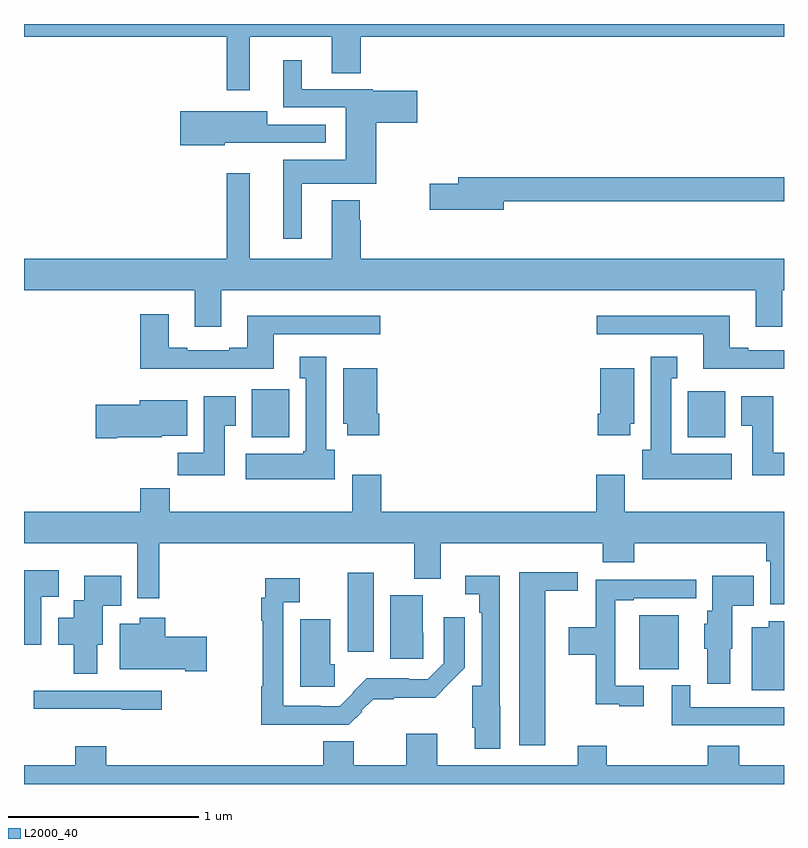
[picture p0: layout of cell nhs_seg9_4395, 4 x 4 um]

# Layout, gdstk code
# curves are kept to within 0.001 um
import gdstk
lib = gdstk.Library(unit=1e-6, precision=1e-09)
def R(c, l, rs):  # rectangles x0, y0, x1, y1
    for r in rs: c.add(gdstk.rectangle(r[:2], r[2:], *l))
def P(c, l, *ps):  # polygons
    for p in ps: c.add(gdstk.Polygon(p, *l))
L2000_40 = (2000, 40)

nhs_seg9_4395 = lib.new_cell('nhs_seg9_4395')
R(nhs_seg9_4395, L2000_40, [(366.239,1181.105,366.445,1181.389), (364.703,1181.196,364.84,1181.611), (364.199,1182.326,364.395,1182.577), (366.494,1182.326,366.691,1182.568)])
P(nhs_seg9_4395, L2000_40, [(363,1184.432),(364.068,1184.432),(364.068,1184.151),(364.189,1184.151),(364.189,1184.432),(364.619,1184.432),(364.619,1184.242),(364.772,1184.242),(364.772,1184.432),(367,1184.432),(367,1184.5),(363,1184.5)],
  [(364.462,1183.658),(364.853,1183.658),(364.853,1183.979),(365.071,1183.979),(365.071,1184.149),(364.836,1184.149),(364.836,1184.157),(364.462,1184.157),(364.462,1184.308),(364.364,1184.308),(364.364,1184.061),(364.694,1184.061),(364.694,1183.786),(364.364,1183.786),(364.364,1183.371),(364.462,1183.371)],
  [(364.056,1183.874),(364.275,1183.874),(364.275,1183.875),(364.588,1183.875),(364.588,1183.971),(364.279,1183.971),(364.279,1184.04),(363.822,1184.04),(363.822,1183.862),(364.056,1183.862)],
  [(364.039,1183.1),(366.851,1183.1),(366.851,1182.906),(366.991,1182.906),(366.991,1183.1),(367,1183.1),(367,1183.264),(364.772,1183.264),(364.772,1183.466),(364.767,1183.466),(364.767,1183.573),(364.619,1183.573),(364.619,1183.264),(364.189,1183.264),(364.189,1183.714),(364.068,1183.714),(364.068,1183.264),(363,1183.264),(363,1183.1),(363.899,1183.1),(363.899,1182.906),(364.039,1182.906)],
  [(365.524,1183.566),(367,1183.566),(367,1183.694),(365.285,1183.694),(365.285,1183.658),(365.136,1183.658),(365.136,1183.523),(365.524,1183.523)],
  [(364.315,1182.867),(364.876,1182.867),(364.876,1182.964),(364.175,1182.964),(364.175,1182.796),(364.079,1182.796),(364.079,1182.783),(363.859,1182.783),(363.859,1182.796),(363.763,1182.796),(363.763,1182.973),(363.611,1182.973),(363.611,1182.686),(364.315,1182.686)],
  [(367,1182.783),(366.811,1182.783),(366.811,1182.796),(366.715,1182.796),(366.715,1182.964),(366.015,1182.964),(366.015,1182.867),(366.575,1182.867),(366.575,1182.686),(367,1182.686)],
  [(366.724,1182.238),(366.406,1182.238),(366.406,1182.635),(366.439,1182.635),(366.439,1182.748),(366.299,1182.748),(366.299,1182.258),(366.254,1182.258),(366.254,1182.104),(366.724,1182.104)],
  [(364.636,1182.258),(364.591,1182.258),(364.591,1182.748),(364.451,1182.748),(364.451,1182.635),(364.484,1182.635),(364.484,1182.252),(364.471,1182.252),(364.471,1182.238),(364.167,1182.238),(364.167,1182.104),(364.636,1182.104)],
  [(364.871,1182.448),(364.858,1182.448),(364.858,1182.688),(364.679,1182.688),(364.679,1182.396),(364.7,1182.396),(364.7,1182.336),(364.871,1182.336)],
  [(366.19,1182.396),(366.211,1182.396),(366.211,1182.688),(366.032,1182.688),(366.032,1182.448),(366.02,1182.448),(366.02,1182.336),(366.19,1182.336)],
  [(364.057,1182.385),(364.114,1182.385),(364.114,1182.541),(363.947,1182.541),(363.947,1182.244),(363.808,1182.244),(363.808,1182.126),(364.057,1182.126)],
  [(367,1182.244),(366.943,1182.244),(366.943,1182.541),(366.776,1182.541),(366.776,1182.385),(366.833,1182.385),(366.833,1182.126),(367,1182.126)],
  [(363.49,1182.326),(363.726,1182.326),(363.726,1182.332),(363.859,1182.332),(363.859,1182.52),(363.608,1182.52),(363.608,1182.497),(363.378,1182.497),(363.378,1182.319),(363.49,1182.319)],
  [(365.054,1181.579),(365.194,1181.579),(365.194,1181.768),(366.047,1181.768),(366.047,1181.666),(366.212,1181.666),(366.212,1181.768),(366.907,1181.768),(366.907,1181.672),(366.927,1181.672),(366.927,1181.445),(367,1181.445),(367,1181.932),(366.163,1181.932),(366.163,1182.127),(366.011,1182.127),(366.011,1181.932),(364.88,1181.932),(364.88,1182.127),(364.727,1182.127),(364.727,1181.932),(363.767,1181.932),(363.767,1182.056),(363.611,1182.056),(363.611,1181.932),(363,1181.932),(363,1181.768),(363.597,1181.768),(363.597,1181.478),(363.713,1181.478),(363.713,1181.768),(365.054,1181.768)],
  [(363.09,1181.486),(363.184,1181.486),(363.184,1181.626),(363,1181.626),(363,1181.234),(363.09,1181.234)],
  [(365.743,1181.516),(365.914,1181.516),(365.914,1181.614),(365.606,1181.614),(365.606,1180.704),(365.743,1180.704)],
  [(363.385,1181.234),(363.415,1181.234),(363.415,1181.438),(363.512,1181.438),(363.512,1181.596),(363.318,1181.596),(363.318,1181.467),(363.263,1181.467),(363.263,1181.374),(363.179,1181.374),(363.179,1181.234),(363.263,1181.234),(363.263,1181.079),(363.385,1181.079)],
  [(366.718,1181.211),(366.727,1181.211),(366.727,1181.438),(366.842,1181.438),(366.842,1181.596),(366.623,1181.596),(366.623,1181.412),(366.596,1181.412),(366.596,1181.343),(366.581,1181.343),(366.581,1181.211),(366.596,1181.211),(366.596,1181.028),(366.718,1181.028)],
  [(365.506,1180.913),(365.505,1180.913),(365.505,1181.596),(365.322,1181.596),(365.322,1181.499),(365.397,1181.499),(365.397,1181.402),(365.409,1181.402),(365.409,1181.016),(365.36,1181.016),(365.36,1180.795),(365.372,1180.795),(365.372,1180.685),(365.506,1180.685)],
  [(364.779,1180.881),(364.775,1180.885),(364.837,1180.947),(364.945,1180.947),(364.945,1180.955),(365.165,1180.955),(365.32,1181.112),(365.32,1181.377),(365.208,1181.377),(365.208,1181.136),(365.124,1181.052),(365.024,1181.052),(365.024,1181.057),(364.805,1181.057),(364.731,1180.983),(364.734,1180.98),(364.662,1180.908),(364.562,1180.908),(364.562,1180.912),(364.365,1180.912),(364.365,1181.456),(364.45,1181.456),(364.45,1181.584),(364.269,1181.584),(364.269,1181.48),(364.249,1181.48),(364.249,1181.36),(364.257,1181.36),(364.257,1181.015),(364.249,1181.015),(364.249,1180.811),(364.709,1180.811)],
  [(366.262,1181.016),(366.111,1181.016),(366.111,1181.466),(366.208,1181.466),(366.208,1181.478),(366.538,1181.478),(366.538,1181.576),(366.295,1181.576),(366.295,1181.574),(366.01,1181.574),(366.01,1181.326),(365.868,1181.326),(365.868,1181.179),(366.01,1181.179),(366.01,1180.919),(366.134,1180.919),(366.134,1180.908),(366.262,1180.908)],
  [(365.1,1181.295),(365.098,1181.295),(365.098,1181.494),(364.928,1181.494),(364.928,1181.16),(365.1,1181.16)],
  [(363.961,1181.276),(363.743,1181.276),(363.743,1181.374),(363.608,1181.374),(363.608,1181.344),(363.503,1181.344),(363.503,1181.105),(363.848,1181.105),(363.848,1181.093),(363.961,1181.093)],
  [(364.635,1181.13),(364.612,1181.13),(364.612,1181.368),(364.454,1181.368),(364.454,1181.013),(364.635,1181.013)],
  [(367,1181.356),(366.92,1181.356),(366.92,1181.326),(366.83,1181.326),(366.83,1180.994),(367,1180.994)],
  [(367,1180.905),(366.507,1180.905),(366.507,1181.02),(366.41,1181.02),(366.41,1180.809),(367,1180.809)],
  [(363.724,1180.992),(363.051,1180.992),(363.051,1180.895),(363.511,1180.895),(363.511,1180.891),(363.724,1180.891)],
  [(367,1180.6),(366.764,1180.6),(366.764,1180.702),(366.599,1180.702),(366.599,1180.6),(366.068,1180.6),(366.068,1180.702),(365.915,1180.702),(365.915,1180.6),(365.176,1180.6),(365.176,1180.765),(365.012,1180.765),(365.012,1180.6),(364.735,1180.6),(364.735,1180.726),(364.574,1180.726),(364.574,1180.6),(363.434,1180.6),(363.434,1180.699),(363.269,1180.699),(363.269,1180.6),(363,1180.6),(363,1180.5),(367,1180.5)])

lib.write_gds('nhs_seg9_4395.gds')
